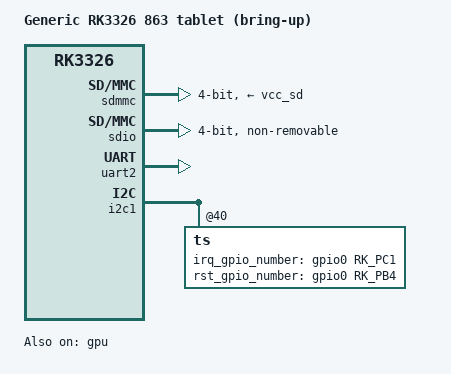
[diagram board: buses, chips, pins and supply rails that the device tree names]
// SPDX-License-Identifier: (GPL-2.0+ OR MIT)
/*
 * Conservative RK3326 tablet overrides.
 *
 * The stock Rockchip 863 DTS is used for the RK817 regulator topology and
 * SoC integration. Devices that are not needed for first boot are disabled
 * here and re-enabled only in a later, explicit stage.
 */

#include "rk3326-863-lp3-v10.dtsi"

/ {
	model = "Generic RK3326 863 tablet (bring-up)";
	compatible = "generic,rk3326-863-tablet",
		     "rockchip,rk3326-863-lp3-v10",
		     "rockchip,rk3326";

	aliases {
		serial2 = &uart2;
	};

	charge-animation {
		status = "disabled";
	};

	fiq-debugger {
		status = "disabled";
	};

	rk817-sound {
		status = "disabled";
	};

	wireless-bluetooth {
		status = "disabled";
	};

	wireless-wlan {
		/*
		 * Values recovered from the running Android DTB.  The generic
		 * rk3326-863 include incorrectly uses GPIO0_B2 plus a synthetic
		 * GPIO3_B6 VBAT switch for this board.
		 */
		/delete-property/ WIFI,vbat_gpio;
		wifi_chip_type = "rtl8723cs";
		WIFI,host_wake_irq = <&gpio0 RK_PA0 GPIO_ACTIVE_HIGH>;
		status = "okay";
	};

	/*
	 * These Android hand-off regions have a zero-sized placeholder until
	 * a cooperating Android U-Boot patches them. The tablet boot chain does
	 * not patch them for Linux, so remove them instead of asking Linux to
	 * reserve address zero.
	 */
	reserved-memory {
		/delete-node/ drm-logo@0;
		/delete-node/ vendor-storage-rm@00000000;
	};

	/delete-node/ vendor-storage;
};

&chosen {
	/delete-property/ bootargs;
	stdout-path = "serial2:1500000n8";
};

&debug {
	status = "disabled";
};

&firmware_android {
	status = "disabled";
};

&ramoops {
	status = "disabled";
};

&backlight {
	default-brightness-level = <96>;
	status = "disabled";
};

&display_subsystem {
	/delete-property/ logo-memory-region;
	status = "disabled";
};

&dsi {
	status = "disabled";

	panel@0 {
		status = "disabled";
	};
};

&dsi_in_vopb {
	status = "disabled";
};

&route_dsi {
	status = "disabled";
};

&vopb {
	status = "disabled";
};

&vopb_mmu {
	status = "disabled";
};

&pwm1 {
	status = "disabled";
};

/*
 * The working microSD boot appeared as mmcblk0. Keep the clock conservative
 * for the first 6.1 boot and retain the real board's voltage rails.
 */
&sdmmc {
	max-frequency = <100000000>;
	bus-width = <4>;
	cap-mmc-highspeed;
	cap-sd-highspeed;
	no-sdio;
	no-mmc;
	card-detect-delay = <800>;
	ignore-pm-notify;
	vqmmc-supply = <&vccio_sd>;
	vmmc-supply = <&vcc_sd>;
	status = "okay";
};

/* Deliberately inaccessible during bring-up. */
&emmc {
	status = "disabled";
};

&sdio {
	bus-width = <4>;
	cap-sd-highspeed;
	ignore-pm-notify;
	keep-power-in-suspend;
	mmc-pwrseq = <&sdio_pwrseq>;
	no-mmc;
	no-sd;
	non-removable;
	sd-uhs-sdr104;
	supports-sdio;
	status = "okay";
};

&nandc0 {
	status = "disabled";
};

/*
 * UART2 M0 overlaps the microSD interface. M1 is the independently measured
 * console route (test points V12/W6). PIO avoids a DMA variable at bring-up.
 */
&uart2 {
	/delete-property/ dmas;
	/delete-property/ dma-names;
	pinctrl-names = "default";
	pinctrl-0 = <&uart2m1_xfer>;
	status = "okay";
};

&uart1 {
	status = "disabled";
};

&i2c1 {
	ts@40 {
		/*
		 * The generic 863 include routes the GSL3673 interrupt to
		 * GPIO0_A5. The tablet's extracted Android DTB uses GPIO0_C1
		 * instead; GPIO0_B4 is the reset line in both descriptions.
		 */
		irq_gpio_number = <&gpio0 RK_PC1 IRQ_TYPE_LEVEL_LOW>;
		rst_gpio_number = <&gpio0 RK_PB4 GPIO_ACTIVE_HIGH>;
		status = "okay";
	};

	sensor@19 {
		status = "disabled";
	};
};

&i2c2 {
	status = "disabled";
};

&i2s1_2ch {
	status = "disabled";
};

&rk817 {
	/*
	 * Bring-up: keep only the IRQ/default pin state. Do not switch the
	 * physical RK817 SLPPIN to sleep, power-off or reset functions.
	 */
	pinctrl-names = "default";
	pinctrl-0 = <&pmic_int>;
	/delete-property/ pinctrl-1;
	/delete-property/ pinctrl-2;
	/delete-property/ pinctrl-3;

	battery {
		/*
		 * Fuel-gauge calibration copied verbatim from the Android DTB
		 * for this tablet's 2543 mAh cell.
		 */
		ocv_table = <3400 3668 3689 3714 3739 3757 3775
			     3790 3805 3823 3844 3872 3919 3963
			     3996 4052 4093 4143 4194 4249 4310>;
		design_capacity = <2543>;
		design_qmax = <2798>;
		bat_res = <100>;
		sleep_enter_current = <150>;
		sleep_exit_current = <180>;
		sleep_filter_current = <100>;
		power_off_thresd = <3400>;
		zero_algorithm_vol = <3300>;
		max_soc_offset = <60>;
		monitor_sec = <5>;
		sample_res = <10>;
		virtual_power = <0>;
		low_power_sleep = <1>;
		status = "okay";
	};

	/*
	 * Keep charging disabled for the first gauge-only test.  Although the
	 * OEM DT requests 4.4 V / 2 A, enabling that policy deserves a separate
	 * thermal and current validation.
	 */
	charger {
		status = "disabled";
	};
};

&rk817_codec {
	status = "disabled";
};

&gpu {
	/*
	 * The vendor DT names these interrupts "GPU", "MMU" and "JOB".
	 * Panfrost follows the upstream binding and looks them up in lower
	 * case. The IRQ numbers themselves are already correct.
	 */
	interrupt-names = "gpu", "mmu", "job";
	mali-supply = <&vdd_logic>;
	status = "okay";
};

&rk_rga {
	status = "disabled";
};

&mpp_srv {
	status = "disabled";
};

&vdpu {
	status = "disabled";
};

&vepu {
	status = "disabled";
};

&vpu_mmu {
	status = "disabled";
};

&hevc {
	status = "disabled";
};

&hevc_mmu {
	status = "disabled";
};

&vip_mmu {
	status = "disabled";
};

&cif {
	status = "disabled";
};

&cif_sensor {
	status = "disabled";
};

&rkisp1 {
	status = "disabled";
};

&isp_mmu {
	status = "disabled";
};

&rockchip_suspend {
	status = "disabled";
};

/*
 * IRQs copied from the tablet's Android DTB. The generic 863 include enables
 * both PHY ports but does not provide these board-required interrupt
 * properties, which makes the USB2 PHY probe report -ENXIO.
 */
&u2phy_host {
	interrupts = <GIC_SPI 68 IRQ_TYPE_LEVEL_HIGH>;
	interrupt-names = "linestate";
};

&u2phy_otg {
	interrupts = <GIC_SPI 66 IRQ_TYPE_LEVEL_HIGH>,
		     <GIC_SPI 65 IRQ_TYPE_LEVEL_HIGH>,
		     <GIC_SPI 64 IRQ_TYPE_LEVEL_HIGH>;
	interrupt-names = "otg-bvalid", "otg-id", "linestate";
};

/*
 * The boot firmware trains LPDDR3 at approximately 332/333 MHz.
 * Its ATF does not accept the 328/666 MHz OPPs exposed by the
 * Rockchip 6.1 DT. Keep DDR at the firmware-selected frequency
 * until a board-specific DMC/FSP table has been validated.
 */
&dfi {
	status = "disabled";
};

&dmc {
	status = "disabled";
};
